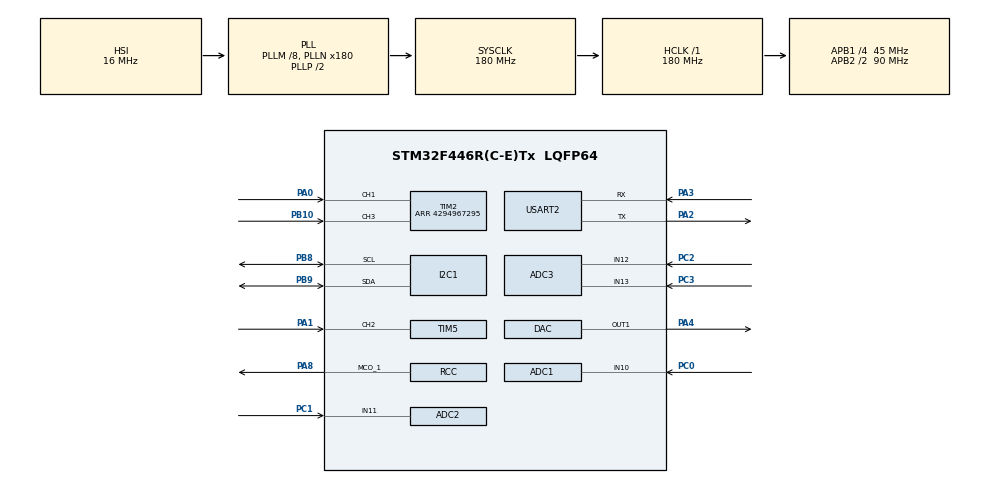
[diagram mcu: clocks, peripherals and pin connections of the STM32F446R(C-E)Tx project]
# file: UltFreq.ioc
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ADC1.Channel-2\#ChannelRegularConversion=ADC_CHANNEL_10
ADC1.NbrOfConversionFlag=1
ADC1.Rank-2\#ChannelRegularConversion=1
ADC1.SamplingTime-2\#ChannelRegularConversion=ADC_SAMPLETIME_3CYCLES
ADC1.master=1
ADC2.Channel-0\#ChannelRegularConversion=ADC_CHANNEL_11
ADC2.NbrOfConversionFlag=1
ADC2.Rank-0\#ChannelRegularConversion=1
ADC2.SamplingTime-0\#ChannelRegularConversion=ADC_SAMPLETIME_3CYCLES
ADC3.Channel-0\#ChannelRegularConversion=ADC_CHANNEL_12
ADC3.NbrOfConversionFlag=1
ADC3.Rank-0\#ChannelRegularConversion=1
ADC3.SamplingTime-0\#ChannelRegularConversion=ADC_SAMPLETIME_3CYCLES
I2C1.OwnAddress=0x69
Mcu.Family=STM32F4
Mcu.Name=STM32F446R(C-E)Tx
Mcu.Package=LQFP64
NVIC.I2C1_ER_IRQn=true\:0\:0\:false\:false\:true\:true\:true\:true
NVIC.I2C1_EV_IRQn=true\:0\:0\:false\:false\:true\:true\:true\:true
NVIC.PriorityGroup=NVIC_PRIORITYGROUP_4
NVIC.TIM2_IRQn=true\:0\:0\:false\:false\:true\:true\:true\:true
NVIC.TIM5_IRQn=true\:0\:0\:false\:false\:true\:true\:true\:true
PA0-WKUP.Signal=S_TIM2_CH1_ETR
PA1.Signal=S_TIM5_CH2
PA2.Mode=Asynchronous
PA2.Signal=USART2_TX
PA3.Mode=Asynchronous
PA3.Signal=USART2_RX
PA4.Signal=COMP_DAC1_group
PA5.Signal=ADCx_IN5
PA8.Mode=Clock-out-1
PA8.Signal=RCC_MCO_1
PB10.Signal=S_TIM2_CH3
PB8.Mode=I2C
PB8.Signal=I2C1_SCL
PB9.Mode=I2C
PB9.Signal=I2C1_SDA
PC0.Signal=ADCx_IN10
PC1.Signal=ADCx_IN11
PC14-OSC32_IN.Mode=LSE-External-Oscillator
PC14-OSC32_IN.Signal=RCC_OSC32_IN
PC15-OSC32_OUT.Mode=LSE-External-Oscillator
PC15-OSC32_OUT.Signal=RCC_OSC32_OUT
PC2.Signal=ADCx_IN12
PC3.Signal=ADCx_IN13
ProjectManager.HeapSize=0x200
ProjectManager.StackSize=0x400
ProjectManager.TargetToolchain=STM32CubeIDE
RCC.AHBFreq_Value=180000000
RCC.APB1CLKDivider=RCC_HCLK_DIV4
RCC.APB1Freq_Value=45000000
RCC.APB1TimFreq_Value=90000000
RCC.APB2CLKDivider=RCC_HCLK_DIV2
RCC.APB2Freq_Value=90000000
RCC.APB2TimFreq_Value=180000000
RCC.CortexFreq_Value=180000000
RCC.HCLKFreq_Value=180000000
RCC.PLLM=8
RCC.PLLN=180
RCC.RCC_MCO1Source=RCC_MCO1SOURCE_LSE
RCC.SYSCLKFreq_VALUE=180000000
RCC.SYSCLKSource=RCC_SYSCLKSOURCE_PLLCLK
RCC.USBFreq_Value=180000000
RCC.VCOOutputFreq_Value=360000000
SH.ADCx_IN10.0=ADC1_IN10,IN10
SH.ADCx_IN11.0=ADC2_IN11,IN11
SH.ADCx_IN12.0=ADC3_IN12,IN12
SH.ADCx_IN13.0=ADC3_IN13,IN13
SH.ADCx_IN5.0=ADC1_IN5
SH.COMP_DAC1_group.0=DAC_OUT1,DAC_OUT1
SH.S_TIM2_CH1_ETR.0=TIM2_CH1,Input_Capture1_from_TI1
SH.S_TIM2_CH3.0=TIM2_CH3,Input_Capture3_from_TI3
SH.S_TIM5_CH2.0=TIM5_CH2,Input_Capture2_from_TI2
TIM2.Channel-Input_Capture1_from_TI1=TIM_CHANNEL_1
TIM2.Channel-Input_Capture3_from_TI3=TIM_CHANNEL_3
TIM2.Period=4294967295
TIM5.Channel-Input_Capture2_from_TI2=TIM_CHANNEL_2
USART2.VirtualMode=VM_ASYNC
VP_TIM5_VS_ClockSourceINT.Mode=Internal
board=custom

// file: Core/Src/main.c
/* USER CODE BEGIN Header */
/**
 ******************************************************************************
 * @file           : main.c
 * @brief          : Main program body
 ******************************************************************************
 * @attention
 *
 * Copyright (c) 2022 STMicroelectronics.
 * All rights reserved.
 *
 * This software is licensed under terms that can be found in the LICENSE file
 * in the root directory of this software component.
 * If no LICENSE file comes with this software, it is provided AS-IS.
 *
 ******************************************************************************
 */
/* USER CODE END Header */
#include "main.h"

/* USER CODE BEGIN Includes */
#include <stdio.h>
#include <stdlib.h>
#include "throttle_control.h"
#include <string.h>
/* USER CODE END Includes */

ADC_HandleTypeDef hadc1;
ADC_HandleTypeDef hadc2;
ADC_HandleTypeDef hadc3;

DAC_HandleTypeDef hdac;

I2C_HandleTypeDef hi2c1;

TIM_HandleTypeDef htim2;
TIM_HandleTypeDef htim5;

UART_HandleTypeDef huart2;

/* USER CODE BEGIN PV */
Trac_Control tc1;
/* USER CODE END PV */

void SystemClock_Config(void);
static void MX_GPIO_Init(void);
static void MX_USART2_UART_Init(void);
static void MX_TIM2_Init(void);
static void MX_DAC_Init(void);
static void MX_ADC1_Init(void);
static void MX_TIM5_Init(void);
static void MX_I2C1_Init(void);
static void MX_ADC2_Init(void);
static void MX_ADC3_Init(void);

/* USER CODE BEGIN 0 */
struct tim1 {
	int unsigned Is_First_Captured;
	unsigned long IC_Value1;
	unsigned long IC_Value2;
	unsigned long Difference;
	unsigned long Frequency;
	int unsigned CalculationOK;
} tim1;
struct tim2 {
	int unsigned Is_First_Captured;
	unsigned long IC_Value1;
	unsigned long IC_Value2;
	unsigned long Difference;
	unsigned long Frequency;
	int unsigned CalculationOK;
} tim2;
struct tim3 {
	int unsigned Is_First_Captured;
	unsigned long IC_Value1;
	unsigned long IC_Value2;
	unsigned long Difference;
	unsigned long Frequency;
	int unsigned CalculationOK;
} tim3;

uint8_t send[4] = { };
uint8_t receive[20] = { };
/* USER CODE END 0 */

int main(void)
{

  /* MCU Configuration--------------------------------------------------------*/

  /* Reset of all peripherals, Initializes the Flash interface and the Systick. */
  HAL_Init();

  /* USER CODE BEGIN Init */
	//dMX_I2C1_Init();
  /* USER CODE END Init */

  /* Configure the system clock */
  SystemClock_Config();

  /* USER CODE BEGIN SysInit */
	MX_GPIO_Init();
	MX_USART2_UART_Init();
	//MX_TIM2_Init();
	//MX_TIM3_Init();
	//MX_TIM3_Init();
	//MX_TIM11_Init();
	//MX_TIM10_Init();
	//HAL_TIM_IC_Start_IT(&htim2, TIM_CHANNEL_1);
	//HAL_TIM_IC_Start_IT(&htim3, TIM_CHANNEL_1);
	//HAL_TIM_PWM_Start(&htim3, TIM_CHANNEL_1);
	//HAL_TIM_PWM_Start(&htim11, TIM_CHANNEL_1);
	//HAL_TIM_PWM_Start(&htim10, TIM_CHANNEL_1);
	//MX_I2C1_Init();

	//htim3.Channel = HAL_TIM_ACTIVE_CHANNEL_1;
	//htim2.Channel = HAL_TIM_ACTIVE_CHANNEL_1;
  /* USER CODE END SysInit */

  /* Initialize all configured peripherals */
  MX_GPIO_Init();
  MX_USART2_UART_Init();
  MX_TIM2_Init();
  MX_DAC_Init();
  MX_ADC1_Init();
  MX_TIM5_Init();
  MX_I2C1_Init();
  MX_ADC2_Init();
  MX_ADC3_Init();

  /* Infinite loop */
  /* USER CODE BEGIN WHILE */
	//uint32_t var = 0;
	//uint32_t var = (uint32_t)(val*4096)/3.3;
	//htim13.Channel = HAL_TIM_ACTIVE_CHANNEL_1;
	htim5.Channel = HAL_TIM_ACTIVE_CHANNEL_2;
	//htim2.Channel = HAL_TIM_ACTIVE_CHANNEL_1;
	//HAL_TIM_IC_Start_IT(&htim13, TIM_CHANNEL_1);
	HAL_TIM_IC_Start_IT(&htim5, TIM_CHANNEL_2);
	HAL_TIM_IC_Start_IT(&htim2, TIM_CHANNEL_1);
	HAL_TIM_IC_Start_IT(&htim2, TIM_CHANNEL_3);
	HAL_ADC_Start(&hadc1);
	//HAL_TIM_PWM_Start(&htim11, TIM_CHANNEL_1);
	//Trac_Control_Init(&tc1);
	HAL_DAC_Start(&hdac, 1);
	HAL_I2C_EnableListen_IT(&hi2c1);
	while (1) {
    /* USER CODE END WHILE */

    /* USER CODE BEGIN 3 */
		//value = HAL_ADC_GetValue(&hadc1);
		//printf("%lu\n\r", value);
		//HAL_Delay(100);
		//HAL_ADC_Stop(&hadc1);
		//HAL_TIM_IC_CaptureCallback(&htim13);
		htim2.Channel = HAL_TIM_ACTIVE_CHANNEL_1;
		HAL_TIM_IC_CaptureCallback(&htim2);
		htim2.Channel = HAL_TIM_ACTIVE_CHANNEL_3;
		HAL_TIM_IC_CaptureCallback(&htim2);
		HAL_TIM_IC_CaptureCallback(&htim5);
		//HAL_TIM_IC_CaptureCallback(&htim3);
		HAL_TIM_ReadCapturedValue(&htim2, TIM_CHANNEL_1);
		//printf("Value = %lu", IC_Value1);
		if (tim1.CalculationOK == 1)
			printf(
					" TIM2: Period = %lu ---- Frequency = %lu ---- PCLK1 frequency %lu \n\r",
					tim1.Difference, tim1.Frequency, HAL_RCC_GetPCLK1Freq());
		if (tim2.CalculationOK == 1) {
			printf(
					" TIM5: Period = %lu ---- Frequency = %lu ---- PCLK1 frequency %lu \n\r",
					tim2.Difference, tim2.Frequency, HAL_RCC_GetPCLK1Freq());
		}
		if (tim3.CalculationOK == 1) {
			printf(
					" TIM2 (2): Period = %lu ---- Frequency = %lu ---- PCLK1 frequency %lu \n\r",
					tim3.Difference, tim3.Frequency, HAL_RCC_GetPCLK1Freq());
		}
		tim1.CalculationOK = 0;
		tim2.CalculationOK = 0;
		tim3.CalculationOK = 0;
		//printf("MPH = %f\n\r", Frequency_to_MPH(tim3.Frequency));
		//HAL_TIM_IC_CaptureCallback(&htim3);
		//*MPH = (uint8_t) Frequency_to_MPH(Frequency);
		//HAL_I2C_Master_Transmit(&hi2c1, address<<1, (uint8_t*)buffer, sizeof(buffer), 50);
		//HAL_I2C_Slave_Receive(&hi2c1, buffer, sizeof(buffer), 50);
		//HAL_I2C_Slave_Transmit_IT(&hi2c1, buf, sizeof(buf));
		//if (HAL_I2C_GetState(&hi2c1) != HAL_I2C_STATE_BUSY_RX)
		//HAL_I2C_Slave_Seq_Receive_IT(&hi2c1, buffer, sizeof(buffer), I2C_NEXT_FRAME);
		//HAL_I2C_Slave_Seq_Transmit_IT (&hi2c1, buf, sizeof(buf), I2C_FIRST_FRAME);
		//HAL_I2C_EnableListen_IT(&hi2c1);
		//HAL_I2C_AddrCallback(&hi2c1, 1, 0x69);
		//for (int i = 0; i < sizeof(receive); ++i)
		 //printf("%u ", receive[i]);
		 //printf("\n\r");
		/*if (HAL_I2C_IsDeviceReady(&hi2c1, address<<1, 10, 100) == HAL_OK)
		 printf("Device READY\n\r");
		 else
		 printf("NOT READY\n\r");*/
		//++nLoop;
		//printf("nLoop == %d \n\r", nLoop);

		 /*var = val*(4096)/3.3;
		 HAL_DAC_SetValue(&hdac, DAC_CHANNEL_1,
		 DAC_ALIGN_12B_R, var);
		 val += 0.5;
		 HAL_Delay(1);
		 if (value>3)
		 value=0.2;*/

		//HAL_Delay(500);
		tc1.throttle_percent = Analog_to_throttle(HAL_ADC_GetValue(&hadc1));
		 if (tc1.throttle_percent > tc1.max_throttle)
		 tc1.throttle_percent = tc1.max_throttle;
		 if (tim1.CalculationOK && tim2.CalculationOK && tim3.CalculationOK){
		 tc1.Front_Speed = Frequency_to_MPH(Front_Wheel_Average(tim2.Frequency, tim1.Frequency));
		 tc1.Rear_Speed = Frequency_to_MPH(tim3.Frequency);
		 if (tc1.off != 1 && tc1.Front_Speed > 0)
		 tc1.throttle_percent = Trac_Control_Run(&tc1);
		 else if (tc1.time != 0 || tc1.prev_error != 0.0)
		 Reset_Pid(&tc1);
		 }
		 HAL_DAC_SetValue(&hdac, DAC_CHANNEL_1, DAC_ALIGN_12B_R, Throttle_to_analog(tc1.throttle_percent));

		 ++send[0];// = (uint8_t) i; //tc1.Front_Speed;
		 send[1] = (uint8_t) tc1.max_throttle;
		 ++send[2];// = (uint8_t) i; //tc1.throttle_percent
		 send[3] = tc1.running;
		 Slip_Target_Change(&tc1, receive[0]);
		 Max_Throttle_Change(&tc1, receive[1]);
		 if (send[0] > 50)
		 send[0] = 0;
		 if (send[2] > 150)
		 send[0] = 0;
	}
  /* USER CODE END 3 */
}

void SystemClock_Config(void)
{
  RCC_OscInitTypeDef RCC_OscInitStruct = {0};
  RCC_ClkInitTypeDef RCC_ClkInitStruct = {0};

  /** Configure the main internal regulator output voltage
  */
  __HAL_RCC_PWR_CLK_ENABLE();
  __HAL_PWR_VOLTAGESCALING_CONFIG(PWR_REGULATOR_VOLTAGE_SCALE1);
  /** Initializes the RCC Oscillators according to the specified parameters
  * in the RCC_OscInitTypeDef structure.
  */
  RCC_OscInitStruct.OscillatorType = RCC_OSCILLATORTYPE_HSI|RCC_OSCILLATORTYPE_LSE;
  RCC_OscInitStruct.LSEState = RCC_LSE_ON;
  RCC_OscInitStruct.HSIState = RCC_HSI_ON;
  RCC_OscInitStruct.HSICalibrationValue = RCC_HSICALIBRATION_DEFAULT;
  RCC_OscInitStruct.PLL.PLLState = RCC_PLL_ON;
  RCC_OscInitStruct.PLL.PLLSource = RCC_PLLSOURCE_HSI;
  RCC_OscInitStruct.PLL.PLLM = 8;
  RCC_OscInitStruct.PLL.PLLN = 180;
  RCC_OscInitStruct.PLL.PLLP = RCC_PLLP_DIV2;
  RCC_OscInitStruct.PLL.PLLQ = 2;
  RCC_OscInitStruct.PLL.PLLR = 2;
  if (HAL_RCC_OscConfig(&RCC_OscInitStruct) != HAL_OK)
  {
    Error_Handler();
  }
  /** Activate the Over-Drive mode
  */
  if (HAL_PWREx_EnableOverDrive() != HAL_OK)
  {
    Error_Handler();
  }
  /** Initializes the CPU, AHB and APB buses clocks
  */
  RCC_ClkInitStruct.ClockType = RCC_CLOCKTYPE_HCLK|RCC_CLOCKTYPE_SYSCLK
                              |RCC_CLOCKTYPE_PCLK1|RCC_CLOCKTYPE_PCLK2;
  RCC_ClkInitStruct.SYSCLKSource = RCC_SYSCLKSOURCE_PLLCLK;
  RCC_ClkInitStruct.AHBCLKDivider = RCC_SYSCLK_DIV1;
  RCC_ClkInitStruct.APB1CLKDivider = RCC_HCLK_DIV4;
  RCC_ClkInitStruct.APB2CLKDivider = RCC_HCLK_DIV2;

  if (HAL_RCC_ClockConfig(&RCC_ClkInitStruct, FLASH_LATENCY_5) != HAL_OK)
  {
    Error_Handler();
  }
  HAL_RCC_MCOConfig(RCC_MCO1, RCC_MCO1SOURCE_LSE, RCC_MCODIV_1);
}

static void MX_ADC1_Init(void)
{

  ADC_ChannelConfTypeDef sConfig = {0};

  /** Configure the global features of the ADC (Clock, Resolution, Data Alignment and number of conversion)
  */
  hadc1.Instance = ADC1;
  hadc1.Init.ClockPrescaler = ADC_CLOCK_SYNC_PCLK_DIV4;
  hadc1.Init.Resolution = ADC_RESOLUTION_12B;
  hadc1.Init.ScanConvMode = DISABLE;
  hadc1.Init.ContinuousConvMode = DISABLE;
  hadc1.Init.DiscontinuousConvMode = DISABLE;
  hadc1.Init.ExternalTrigConvEdge = ADC_EXTERNALTRIGCONVEDGE_NONE;
  hadc1.Init.ExternalTrigConv = ADC_SOFTWARE_START;
  hadc1.Init.DataAlign = ADC_DATAALIGN_RIGHT;
  hadc1.Init.NbrOfConversion = 1;
  hadc1.Init.DMAContinuousRequests = DISABLE;
  hadc1.Init.EOCSelection = ADC_EOC_SINGLE_CONV;
  if (HAL_ADC_Init(&hadc1) != HAL_OK)
  {
    Error_Handler();
  }
  /** Configure for the selected ADC regular channel its corresponding rank in the sequencer and its sample time.
  */
  sConfig.Channel = ADC_CHANNEL_10;
  sConfig.Rank = 1;
  sConfig.SamplingTime = ADC_SAMPLETIME_3CYCLES;
  if (HAL_ADC_ConfigChannel(&hadc1, &sConfig) != HAL_OK)
  {
    Error_Handler();
  }

}

static void MX_ADC2_Init(void)
{

  ADC_ChannelConfTypeDef sConfig = {0};

  /** Configure the global features of the ADC (Clock, Resolution, Data Alignment and number of conversion)
  */
  hadc2.Instance = ADC2;
  hadc2.Init.ClockPrescaler = ADC_CLOCK_SYNC_PCLK_DIV4;
  hadc2.Init.Resolution = ADC_RESOLUTION_12B;
  hadc2.Init.ScanConvMode = DISABLE;
  hadc2.Init.ContinuousConvMode = DISABLE;
  hadc2.Init.DiscontinuousConvMode = DISABLE;
  hadc2.Init.ExternalTrigConvEdge = ADC_EXTERNALTRIGCONVEDGE_NONE;
  hadc2.Init.ExternalTrigConv = ADC_SOFTWARE_START;
  hadc2.Init.DataAlign = ADC_DATAALIGN_RIGHT;
  hadc2.Init.NbrOfConversion = 1;
  hadc2.Init.DMAContinuousRequests = DISABLE;
  hadc2.Init.EOCSelection = ADC_EOC_SINGLE_CONV;
  if (HAL_ADC_Init(&hadc2) != HAL_OK)
  {
    Error_Handler();
  }
  /** Configure for the selected ADC regular channel its corresponding rank in the sequencer and its sample time.
  */
  sConfig.Channel = ADC_CHANNEL_11;
  sConfig.Rank = 1;
  sConfig.SamplingTime = ADC_SAMPLETIME_3CYCLES;
  if (HAL_ADC_ConfigChannel(&hadc2, &sConfig) != HAL_OK)
  {
    Error_Handler();
  }

}

static void MX_ADC3_Init(void)
{

  ADC_ChannelConfTypeDef sConfig = {0};

  /** Configure the global features of the ADC (Clock, Resolution, Data Alignment and number of conversion)
  */
  hadc3.Instance = ADC3;
  hadc3.Init.ClockPrescaler = ADC_CLOCK_SYNC_PCLK_DIV4;
  hadc3.Init.Resolution = ADC_RESOLUTION_12B;
  hadc3.Init.ScanConvMode = DISABLE;
  hadc3.Init.ContinuousConvMode = DISABLE;
  hadc3.Init.DiscontinuousConvMode = DISABLE;
  hadc3.Init.ExternalTrigConvEdge = ADC_EXTERNALTRIGCONVEDGE_NONE;
  hadc3.Init.ExternalTrigConv = ADC_SOFTWARE_START;
  hadc3.Init.DataAlign = ADC_DATAALIGN_RIGHT;
  hadc3.Init.NbrOfConversion = 1;
  hadc3.Init.DMAContinuousRequests = DISABLE;
  hadc3.Init.EOCSelection = ADC_EOC_SINGLE_CONV;
  if (HAL_ADC_Init(&hadc3) != HAL_OK)
  {
    Error_Handler();
  }
  /** Configure for the selected ADC regular channel its corresponding rank in the sequencer and its sample time.
  */
  sConfig.Channel = ADC_CHANNEL_12;
  sConfig.Rank = 1;
  sConfig.SamplingTime = ADC_SAMPLETIME_3CYCLES;
  if (HAL_ADC_ConfigChannel(&hadc3, &sConfig) != HAL_OK)
  {
    Error_Handler();
  }

}

static void MX_DAC_Init(void)
{

  DAC_ChannelConfTypeDef sConfig = {0};

  /** DAC Initialization
  */
  hdac.Instance = DAC;
  if (HAL_DAC_Init(&hdac) != HAL_OK)
  {
    Error_Handler();
  }
  /** DAC channel OUT1 config
  */
  sConfig.DAC_Trigger = DAC_TRIGGER_NONE;
  sConfig.DAC_OutputBuffer = DAC_OUTPUTBUFFER_ENABLE;
  if (HAL_DAC_ConfigChannel(&hdac, &sConfig, DAC_CHANNEL_1) != HAL_OK)
  {
    Error_Handler();
  }

}

static void MX_I2C1_Init(void)
{

  hi2c1.Instance = I2C1;
  hi2c1.Init.ClockSpeed = 100000;
  hi2c1.Init.DutyCycle = I2C_DUTYCYCLE_2;
  hi2c1.Init.OwnAddress1 = 210;
  hi2c1.Init.AddressingMode = I2C_ADDRESSINGMODE_7BIT;
  hi2c1.Init.DualAddressMode = I2C_DUALADDRESS_DISABLE;
  hi2c1.Init.OwnAddress2 = 0;
  hi2c1.Init.GeneralCallMode = I2C_GENERALCALL_DISABLE;
  hi2c1.Init.NoStretchMode = I2C_NOSTRETCH_DISABLE;
  if (HAL_I2C_Init(&hi2c1) != HAL_OK)
  {
    Error_Handler();
  }

}

static void MX_TIM2_Init(void)
{

  TIM_MasterConfigTypeDef sMasterConfig = {0};
  TIM_IC_InitTypeDef sConfigIC = {0};

  htim2.Instance = TIM2;
  htim2.Init.Prescaler = 0;
  htim2.Init.CounterMode = TIM_COUNTERMODE_UP;
  htim2.Init.Period = 4294967295;
  htim2.Init.ClockDivision = TIM_CLOCKDIVISION_DIV1;
  htim2.Init.AutoReloadPreload = TIM_AUTORELOAD_PRELOAD_DISABLE;
  if (HAL_TIM_IC_Init(&htim2) != HAL_OK)
  {
    Error_Handler();
  }
  sMasterConfig.MasterOutputTrigger = TIM_TRGO_RESET;
  sMasterConfig.MasterSlaveMode = TIM_MASTERSLAVEMODE_DISABLE;
  if (HAL_TIMEx_MasterConfigSynchronization(&htim2, &sMasterConfig) != HAL_OK)
  {
    Error_Handler();
  }
  sConfigIC.ICPolarity = TIM_INPUTCHANNELPOLARITY_RISING;
  sConfigIC.ICSelection = TIM_ICSELECTION_DIRECTTI;
  sConfigIC.ICPrescaler = TIM_ICPSC_DIV1;
  sConfigIC.ICFilter = 0;
  if (HAL_TIM_IC_ConfigChannel(&htim2, &sConfigIC, TIM_CHANNEL_1) != HAL_OK)
  {
    Error_Handler();
  }
  if (HAL_TIM_IC_ConfigChannel(&htim2, &sConfigIC, TIM_CHANNEL_3) != HAL_OK)
  {
    Error_Handler();
  }

}

static void MX_TIM5_Init(void)
{

  TIM_ClockConfigTypeDef sClockSourceConfig = {0};
  TIM_MasterConfigTypeDef sMasterConfig = {0};
  TIM_IC_InitTypeDef sConfigIC = {0};

  htim5.Instance = TIM5;
  htim5.Init.Prescaler = 0;
  htim5.Init.CounterMode = TIM_COUNTERMODE_UP;
  htim5.Init.Period = 4294967295;
  htim5.Init.ClockDivision = TIM_CLOCKDIVISION_DIV1;
  htim5.Init.AutoReloadPreload = TIM_AUTORELOAD_PRELOAD_DISABLE;
  if (HAL_TIM_Base_Init(&htim5) != HAL_OK)
  {
    Error_Handler();
  }
  sClockSourceConfig.ClockSource = TIM_CLOCKSOURCE_INTERNAL;
  if (HAL_TIM_ConfigClockSource(&htim5, &sClockSourceConfig) != HAL_OK)
  {
    Error_Handler();
  }
  if (HAL_TIM_IC_Init(&htim5) != HAL_OK)
  {
    Error_Handler();
  }
  sMasterConfig.MasterOutputTrigger = TIM_TRGO_RESET;
  sMasterConfig.MasterSlaveMode = TIM_MASTERSLAVEMODE_DISABLE;
  if (HAL_TIMEx_MasterConfigSynchronization(&htim5, &sMasterConfig) != HAL_OK)
  {
    Error_Handler();
  }
  sConfigIC.ICPolarity = TIM_INPUTCHANNELPOLARITY_RISING;
  sConfigIC.ICSelection = TIM_ICSELECTION_DIRECTTI;
  sConfigIC.ICPrescaler = TIM_ICPSC_DIV1;
  sConfigIC.ICFilter = 0;
  if (HAL_TIM_IC_ConfigChannel(&htim5, &sConfigIC, TIM_CHANNEL_2) != HAL_OK)
  {
    Error_Handler();
  }

}

static void MX_USART2_UART_Init(void)
{

  huart2.Instance = USART2;
  huart2.Init.BaudRate = 115200;
  huart2.Init.WordLength = UART_WORDLENGTH_8B;
  huart2.Init.StopBits = UART_STOPBITS_1;
  huart2.Init.Parity = UART_PARITY_NONE;
  huart2.Init.Mode = UART_MODE_TX_RX;
  huart2.Init.HwFlowCtl = UART_HWCONTROL_NONE;
  huart2.Init.OverSampling = UART_OVERSAMPLING_16;
  if (HAL_UART_Init(&huart2) != HAL_OK)
  {
    Error_Handler();
  }

}

static void MX_GPIO_Init(void)
{
  GPIO_InitTypeDef GPIO_InitStruct = {0};

  /* GPIO Ports Clock Enable */
  __HAL_RCC_GPIOC_CLK_ENABLE();
  __HAL_RCC_GPIOA_CLK_ENABLE();
  __HAL_RCC_GPIOB_CLK_ENABLE();

  /*Configure GPIO pin : PA8 */
  GPIO_InitStruct.Pin = GPIO_PIN_8;
  GPIO_InitStruct.Mode = GPIO_MODE_AF_PP;
  GPIO_InitStruct.Pull = GPIO_NOPULL;
  GPIO_InitStruct.Speed = GPIO_SPEED_FREQ_LOW;
  GPIO_InitStruct.Alternate = GPIO_AF0_MCO;
  HAL_GPIO_Init(GPIOA, &GPIO_InitStruct);

}

/* USER CODE BEGIN 4 */

void HAL_TIM_IC_CaptureCallback(TIM_HandleTypeDef *htim) {
	if (htim->Channel == HAL_TIM_ACTIVE_CHANNEL_1) {
		if (tim1.Is_First_Captured == 0) {
			tim1.IC_Value1 = HAL_TIM_ReadCapturedValue(htim, TIM_CHANNEL_1);
			tim1.Is_First_Captured = 1;
		} else if (tim1.Is_First_Captured) {
			tim1.IC_Value2 = HAL_TIM_ReadCapturedValue(htim, TIM_CHANNEL_1);
			if (tim1.IC_Value2 > tim1.IC_Value1) {
				tim1.Difference = tim1.IC_Value2 - tim1.IC_Value1;
				tim1.Frequency = HAL_RCC_GetPCLK1Freq() / tim1.Difference;
				tim1.CalculationOK = 1;
			} else
				tim1.CalculationOK = 0;
			tim1.Is_First_Captured = 0;
		}
	}
	if (htim->Channel == HAL_TIM_ACTIVE_CHANNEL_2) {
		if (tim2.Is_First_Captured == 0) {
			tim2.IC_Value1 = HAL_TIM_ReadCapturedValue(htim, TIM_CHANNEL_2);
			tim2.Is_First_Captured = 1;
		} else if (tim2.Is_First_Captured) {
			tim2.IC_Value2 = HAL_TIM_ReadCapturedValue(htim, TIM_CHANNEL_2);
			if (tim2.IC_Value2 > tim2.IC_Value1) {
				tim2.Difference = tim2.IC_Value2 - tim2.IC_Value1;
				tim2.Frequency = HAL_RCC_GetPCLK1Freq() / tim2.Difference;
				tim2.CalculationOK = 1;
			} else
				tim2.CalculationOK = 0;
			tim2.Is_First_Captured = 0;
		}
	}
	if (htim->Channel == HAL_TIM_ACTIVE_CHANNEL_3) {
		if (tim3.Is_First_Captured == 0) {
			tim3.IC_Value1 = HAL_TIM_ReadCapturedValue(htim, TIM_CHANNEL_3);
			tim3.Is_First_Captured = 1;
		} else if (tim3.Is_First_Captured) {
			tim3.IC_Value2 = HAL_TIM_ReadCapturedValue(htim, TIM_CHANNEL_3);
			if (tim3.IC_Value2 > tim3.IC_Value1) {
				tim3.Difference = tim3.IC_Value2 - tim3.IC_Value1;
				tim3.Frequency = HAL_RCC_GetPCLK1Freq() / tim3.Difference;
				tim3.CalculationOK = 1;
			} else
				tim3.CalculationOK = 0;
			tim3.Is_First_Captured = 0;
		}
	}
}

int __io_putchar(int ch) {
	uint8_t c[1];
	c[0] = ch & 0x00FF;
	HAL_UART_Transmit(&huart2, &*c, 1, 10);
	return ch;
}

int _write(int file, char *ptr, int len) {
	int DataIdx;
	for (DataIdx = 0; DataIdx < len; DataIdx++) {
		__io_putchar(*ptr++);
	}
	return len;
}

void HAL_I2C_ListenCpltCallback(I2C_HandleTypeDef *hi2c) {
	HAL_I2C_EnableListen_IT(&hi2c1); // Restart
}

void HAL_I2C_AddrCallback(I2C_HandleTypeDef *hi2c, uint8_t TransferDirection,
		uint16_t AddrMatchCode) {
	UNUSED(AddrMatchCode);
	//I2C_NEXT_FRAME
	//I2C_LAST_FRAME
	if (TransferDirection == I2C_DIRECTION_TRANSMIT)
		HAL_I2C_Slave_Sequential_Receive_IT(&hi2c1, receive, sizeof(receive),
				I2C_NEXT_FRAME);
	else {
		HAL_I2C_Slave_Sequential_Transmit_IT(&hi2c1, send, sizeof(send),
				I2C_NEXT_FRAME);
	}

}

void HAL_I2C_SlaveTxCpltCallback(I2C_HandleTypeDef *hi2c) {
}

void HAL_I2C_SlaveRxCpltCallback(I2C_HandleTypeDef *hi2c) {
}

/* USER CODE END 4 */

void Error_Handler(void)
{
	__disable_irq();
	while (1) {
	}
}
